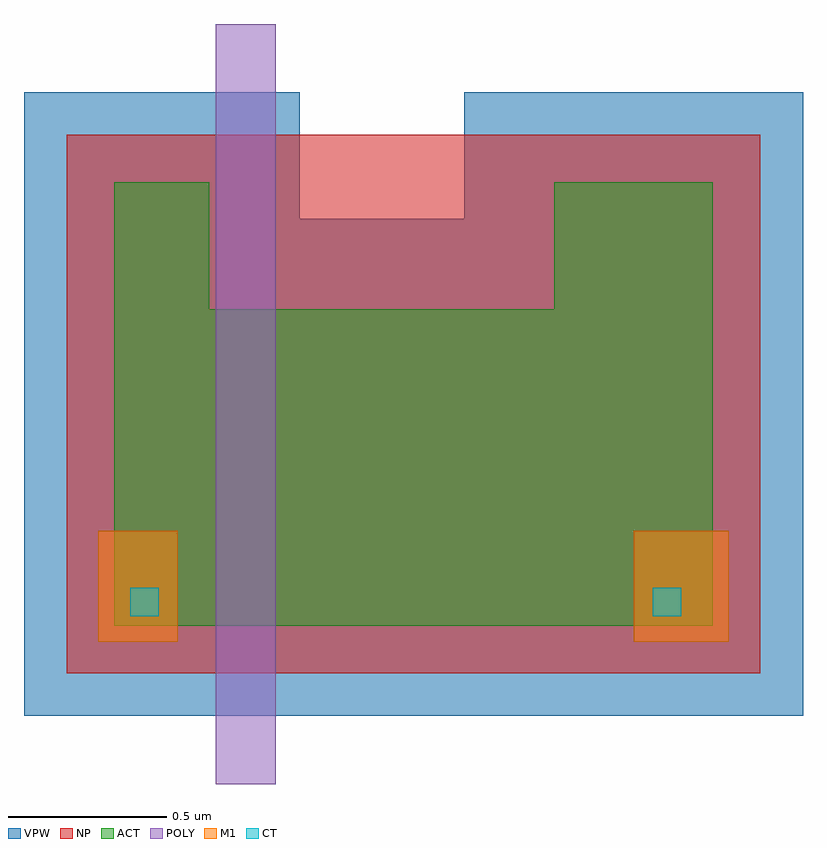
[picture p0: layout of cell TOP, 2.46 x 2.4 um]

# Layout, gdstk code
import gdstk
lib = gdstk.Library(unit=1e-6, precision=1e-09)
def R(c, l, rs):  # rectangles x0, y0, x1, y1
    for r in rs: c.add(gdstk.rectangle(r[:2], r[2:], *l))
def P(c, l, *ps):  # polygons
    for p in ps: c.add(gdstk.Polygon(p, *l))
ACT = (2, 1)
POLY = (41, 1)
NP = (52, 1)
CT = (72, 1)
M1 = (81, 1)
VPW = (261, 12)

top = lib.new_cell('TOP')
P(top, ACT, [(0,0),(0,1.4),(0.3,1.4),(0.3,1),(1.39,1),(1.39,1.4),(1.89,1.4),(1.89,0)])
R(top, POLY, [(0.32,-0.5,0.51,1.9)])
R(top, NP, [(-0.15,-0.15,2.04,1.55)])
R(top, CT, [(0.05,0.03,0.14,0.12), (1.7,0.03,1.79,0.12)])
R(top, M1, [(-0.05,-0.05,0.2,0.3), (1.64,-0.05,1.94,0.3)])
P(top, VPW, [(-0.285,-0.285),(-0.285,1.685),(0.585,1.685),(0.585,1.285),(1.105,1.285),(1.105,1.685),(2.175,1.685),(2.175,-0.285)])

lib.write_gds('TOP.gds')
